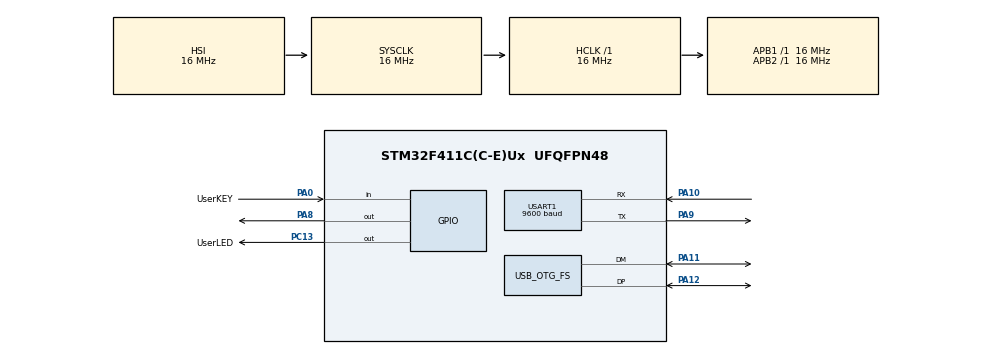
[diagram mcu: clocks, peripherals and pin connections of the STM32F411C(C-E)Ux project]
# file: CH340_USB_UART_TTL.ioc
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Mcu.Family=STM32F4
Mcu.Name=STM32F411C(C-E)Ux
Mcu.Package=UFQFPN48
NVIC.OTG_FS_IRQn=true\:0\:0\:false\:false\:true\:false\:true\:true
NVIC.PriorityGroup=NVIC_PRIORITYGROUP_4
NVIC.USART1_IRQn=true\:0\:0\:false\:false\:true\:true\:true\:true
PA0-WKUP.GPIO_Label=UserKEY
PA0-WKUP.GPIO_PuPd=GPIO_PULLUP
PA0-WKUP.Signal=GPIO_Input
PA10.Mode=Asynchronous
PA10.Signal=USART1_RX
PA11.Mode=Host_Only
PA11.Signal=USB_OTG_FS_DM
PA12.Mode=Host_Only
PA12.Signal=USB_OTG_FS_DP
PA8.GPIO_Speed=GPIO_SPEED_FREQ_VERY_HIGH
PA8.Signal=GPIO_Output
PA9.Mode=Asynchronous
PA9.Signal=USART1_TX
PC13-ANTI_TAMP.GPIO_Label=UserLED
PC13-ANTI_TAMP.PinState=GPIO_PIN_SET
PC13-ANTI_TAMP.Signal=GPIO_Output
PH0\ -\ OSC_IN.Mode=HSE-External-Oscillator
PH0\ -\ OSC_IN.Signal=RCC_OSC_IN
PH1\ -\ OSC_OUT.Mode=HSE-External-Oscillator
PH1\ -\ OSC_OUT.Signal=RCC_OSC_OUT
ProjectManager.HeapSize=0x200
ProjectManager.StackSize=0x400
ProjectManager.TargetToolchain=STM32CubeIDE
RCC.48MHZClocksFreq_Value=48000000
RCC.AHBFreq_Value=16000000
RCC.APB1Freq_Value=16000000
RCC.APB1TimFreq_Value=16000000
RCC.APB2Freq_Value=16000000
RCC.APB2TimFreq_Value=16000000
RCC.CortexFreq_Value=16000000
RCC.HCLKFreq_Value=16000000
RCC.HSE_VALUE=25000000
RCC.HSI_VALUE=16000000
RCC.LSE_VALUE=32768
RCC.PLLM=15
RCC.PLLN=144
RCC.PLLQ=5
RCC.SYSCLKFreq_VALUE=16000000
RCC.VCOOutputFreq_Value=240000000
USART1.BaudRate=9600
USART1.VirtualMode=VM_ASYNC
USB_HOST.USBH_HandleTypeDef=hUsbHostFS
USB_HOST.VirtualModeFS=Cdc
USB_OTG_FS.VirtualMode=Host_Only
USB_OTG_FS.phy_itface=HCD_PHY_EMBEDDED
VP_USB_HOST_VS_USB_HOST_CDC_FS.Mode=CDC_FS
board=custom

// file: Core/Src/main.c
/* USER CODE BEGIN Header */
/**
  ******************************************************************************
  * @file           : main.c
  * @brief          : Main program body
  ******************************************************************************
  * @attention
  *
  * Copyright (c) 2025 STMicroelectronics.
  * All rights reserved.
  *
  * This software is licensed under terms that can be found in the LICENSE file
  * in the root directory of this software component.
  * If no LICENSE file comes with this software, it is provided AS-IS.
  *
  ******************************************************************************
  */
/* USER CODE END Header */
#include "main.h"
#include "usb_host.h"

/* USER CODE BEGIN Includes */

#include "usbh_cdc.h"
#include "ch340.h"

/* USER CODE END Includes */

/* USER CODE BEGIN PD */

#define BUFFER_SIZE 10
#define UART_TIMEOUT 100

/* USER CODE END PD */

UART_HandleTypeDef huart1;

/* USER CODE BEGIN PV */

uint8_t data_buffer[] = {0, 1, 2, 3, 4, 5, 6, 7, 8, 9};

uint8_t is_ch340_initialized = 0;
volatile uint8_t rx_complete_flag = 0;

char msg[64];

extern USBH_HandleTypeDef hUsbHostFS;
extern ApplicationTypeDef Appli_state;

/* USER CODE END PV */

void SystemClock_Config(void);
static void MX_GPIO_Init(void);
static void MX_USART1_UART_Init(void);
void MX_USB_HOST_Process(void);

/* USER CODE BEGIN 0 */

void ReverseArray(uint8_t *arr, uint32_t len) {
    uint32_t start = 0;
    uint32_t end = len - 1;
    uint8_t temp;

    while (start < end) {
        temp = arr[start];
        arr[start] = arr[end];
        arr[end] = temp;
        start++;
        end--;
    }
}

/* USER CODE END 0 */

int main(void)
{

  /* MCU Configuration--------------------------------------------------------*/

  /* Reset of all peripherals, Initializes the Flash interface and the Systick. */
  HAL_Init();

  /* Configure the system clock */
  SystemClock_Config();

  /* Initialize all configured peripherals */
  MX_GPIO_Init();
  MX_USART1_UART_Init();
  MX_USB_HOST_Init();

  /* Infinite loop */
  while (1)
  {
    MX_USB_HOST_Process();

    /* USER CODE BEGIN 3 */

    if (Appli_state == APPLICATION_READY) {
    	if (!is_ch340_initialized) {
    		if(CH340_Init(&hUsbHostFS, 9600) == USBH_OK) {
    			is_ch340_initialized = 1;
    			HAL_UART_Transmit(&huart1, (uint8_t*)"Init complete. Waiting for Button...\r\n", 38, UART_TIMEOUT);
    		} else {
    			HAL_UART_Transmit(&huart1, (uint8_t*)"Init failed. Retrying...\r\n", 26, UART_TIMEOUT);
    			HAL_Delay(100); // to next init
    		}
    	}

    	if (is_ch340_initialized && rx_complete_flag == 0) {
    		if (HAL_GPIO_ReadPin(UserKEY_GPIO_Port, UserKEY_Pin) == GPIO_PIN_RESET) {
    			HAL_Delay(200); // debounce

    			HAL_UART_Transmit(&huart1, (uint8_t*)"\r\nButton pressed: \r\n", 20, UART_TIMEOUT);
                HAL_UART_Transmit(&huart1, (uint8_t*)"TX Data (via USB) - ", 20, UART_TIMEOUT);

                for(int i = 0; i < BUFFER_SIZE; i++) {
                	sprintf(msg, "%u", data_buffer[i]);
                	HAL_UART_Transmit(&huart1, (uint8_t*)msg, strlen(msg), UART_TIMEOUT);

                }
                HAL_UART_Transmit(&huart1, (uint8_t*)"\r\n", 2, UART_TIMEOUT);

                // receive before transmit via usb
                HAL_UART_Receive_IT(&huart1, data_buffer, BUFFER_SIZE);
                USBH_CDC_Transmit(&hUsbHostFS, data_buffer, BUFFER_SIZE);
                }
            }

    	if (rx_complete_flag == 1) {
    		HAL_UART_Transmit(&huart1, (uint8_t*)"RX Data (via USART) - ", 22, UART_TIMEOUT);

    		for(int i = 0; i < BUFFER_SIZE; i++) {
    			sprintf(msg, "%u", data_buffer[i]);
    			HAL_UART_Transmit(&huart1, (uint8_t*)msg, strlen(msg), UART_TIMEOUT);
    		}

    		ReverseArray(data_buffer, BUFFER_SIZE);
    		HAL_UART_Transmit(&huart1, (uint8_t*)"\r\nReversed data - ", 18, UART_TIMEOUT);

    		for(int i = 0; i < BUFFER_SIZE; i++) {
    			sprintf(msg, "%u", data_buffer[i]);
    			HAL_UART_Transmit(&huart1, (uint8_t*)msg, strlen(msg), UART_TIMEOUT);
    		}

    		HAL_UART_Transmit(&huart1, (uint8_t*)"\r\n", 2, UART_TIMEOUT);

            rx_complete_flag = 0;

    	}
    } else is_ch340_initialized = 0;
  }
  /* USER CODE END 3 */
}

void SystemClock_Config(void)
{
  RCC_OscInitTypeDef RCC_OscInitStruct = {0};
  RCC_ClkInitTypeDef RCC_ClkInitStruct = {0};

  /** Configure the main internal regulator output voltage
  */
  __HAL_RCC_PWR_CLK_ENABLE();
  __HAL_PWR_VOLTAGESCALING_CONFIG(PWR_REGULATOR_VOLTAGE_SCALE1);

  /** Initializes the RCC Oscillators according to the specified parameters
  * in the RCC_OscInitTypeDef structure.
  */
  RCC_OscInitStruct.OscillatorType = RCC_OSCILLATORTYPE_HSI|RCC_OSCILLATORTYPE_HSE;
  RCC_OscInitStruct.HSEState = RCC_HSE_ON;
  RCC_OscInitStruct.HSIState = RCC_HSI_ON;
  RCC_OscInitStruct.HSICalibrationValue = RCC_HSICALIBRATION_DEFAULT;
  RCC_OscInitStruct.PLL.PLLState = RCC_PLL_ON;
  RCC_OscInitStruct.PLL.PLLSource = RCC_PLLSOURCE_HSE;
  RCC_OscInitStruct.PLL.PLLM = 15;
  RCC_OscInitStruct.PLL.PLLN = 144;
  RCC_OscInitStruct.PLL.PLLP = RCC_PLLP_DIV2;
  RCC_OscInitStruct.PLL.PLLQ = 5;
  if (HAL_RCC_OscConfig(&RCC_OscInitStruct) != HAL_OK)
  {
    Error_Handler();
  }

  /** Initializes the CPU, AHB and APB buses clocks
  */
  RCC_ClkInitStruct.ClockType = RCC_CLOCKTYPE_HCLK|RCC_CLOCKTYPE_SYSCLK
                              |RCC_CLOCKTYPE_PCLK1|RCC_CLOCKTYPE_PCLK2;
  RCC_ClkInitStruct.SYSCLKSource = RCC_SYSCLKSOURCE_HSI;
  RCC_ClkInitStruct.AHBCLKDivider = RCC_SYSCLK_DIV1;
  RCC_ClkInitStruct.APB1CLKDivider = RCC_HCLK_DIV1;
  RCC_ClkInitStruct.APB2CLKDivider = RCC_HCLK_DIV1;

  if (HAL_RCC_ClockConfig(&RCC_ClkInitStruct, FLASH_LATENCY_0) != HAL_OK)
  {
    Error_Handler();
  }
}

static void MX_USART1_UART_Init(void)
{

  huart1.Instance = USART1;
  huart1.Init.BaudRate = 9600;
  huart1.Init.WordLength = UART_WORDLENGTH_8B;
  huart1.Init.StopBits = UART_STOPBITS_1;
  huart1.Init.Parity = UART_PARITY_NONE;
  huart1.Init.Mode = UART_MODE_TX_RX;
  huart1.Init.HwFlowCtl = UART_HWCONTROL_NONE;
  huart1.Init.OverSampling = UART_OVERSAMPLING_16;
  if (HAL_UART_Init(&huart1) != HAL_OK)
  {
    Error_Handler();
  }

}

static void MX_GPIO_Init(void)
{
  GPIO_InitTypeDef GPIO_InitStruct = {0};

  /* GPIO Ports Clock Enable */
  __HAL_RCC_GPIOC_CLK_ENABLE();
  __HAL_RCC_GPIOH_CLK_ENABLE();
  __HAL_RCC_GPIOA_CLK_ENABLE();

  /*Configure GPIO pin Output Level */
  HAL_GPIO_WritePin(UserLED_GPIO_Port, UserLED_Pin, GPIO_PIN_SET);

  /*Configure GPIO pin Output Level */
  HAL_GPIO_WritePin(GPIOA, GPIO_PIN_8, GPIO_PIN_RESET);

  /*Configure GPIO pin : UserLED_Pin */
  GPIO_InitStruct.Pin = UserLED_Pin;
  GPIO_InitStruct.Mode = GPIO_MODE_OUTPUT_PP;
  GPIO_InitStruct.Pull = GPIO_NOPULL;
  GPIO_InitStruct.Speed = GPIO_SPEED_FREQ_LOW;
  HAL_GPIO_Init(UserLED_GPIO_Port, &GPIO_InitStruct);

  /*Configure GPIO pin : UserKEY_Pin */
  GPIO_InitStruct.Pin = UserKEY_Pin;
  GPIO_InitStruct.Mode = GPIO_MODE_INPUT;
  GPIO_InitStruct.Pull = GPIO_PULLUP;
  HAL_GPIO_Init(UserKEY_GPIO_Port, &GPIO_InitStruct);

  /*Configure GPIO pin : PA8 */
  GPIO_InitStruct.Pin = GPIO_PIN_8;
  GPIO_InitStruct.Mode = GPIO_MODE_OUTPUT_PP;
  GPIO_InitStruct.Pull = GPIO_NOPULL;
  GPIO_InitStruct.Speed = GPIO_SPEED_FREQ_VERY_HIGH;
  HAL_GPIO_Init(GPIOA, &GPIO_InitStruct);

}

/* USER CODE BEGIN 4 */

void HAL_UART_RxCpltCallback(UART_HandleTypeDef *huart) {
    if (huart->Instance == USART1) {
    	rx_complete_flag = 1;
    }
}

/* USER CODE END 4 */

void Error_Handler(void)
{
  __disable_irq();
  while (1)
  {
  }
}
